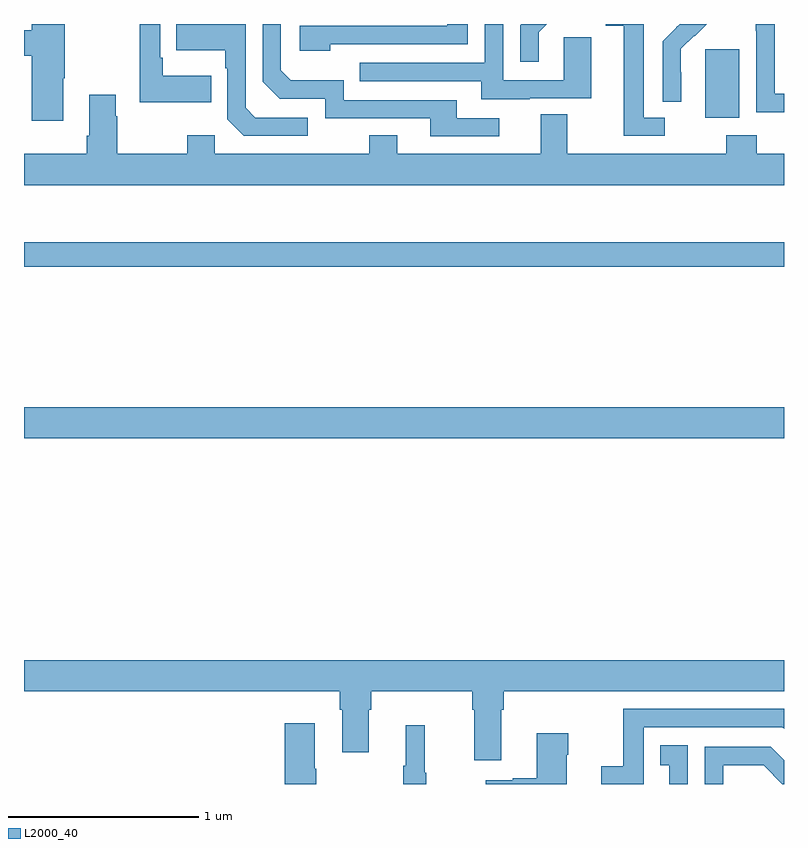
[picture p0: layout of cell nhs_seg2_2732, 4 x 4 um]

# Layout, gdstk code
import gdstk
lib = gdstk.Library(unit=1e-6, precision=1e-09)
def R(c, l, rs):  # rectangles x0, y0, x1, y1
    for r in rs: c.add(gdstk.rectangle(r[:2], r[2:], *l))
def P(c, l, *ps):  # polygons
    for p in ps: c.add(gdstk.Polygon(p, *l))
L2000_40 = (2000, 40)

nhs_seg2_2732 = lib.new_cell('nhs_seg2_2732')
R(nhs_seg2_2732, L2000_40, [(253,663.62,257,663.784), (253,664.522,257,664.651), (256.586,665.306,256.765,665.667)])
P(nhs_seg2_2732, L2000_40, [(255.661,665.409),(255.985,665.409),(255.985,665.729),(255.84,665.729),(255.84,665.505),(255.522,665.505),(255.522,665.8),(255.426,665.8),(255.426,665.595),(254.767,665.595),(254.767,665.499),(255.407,665.499),(255.407,665.405),(255.661,665.405)],
  [(256.372,665.307),(256.261,665.307),(256.261,665.8),(256.061,665.8),(256.061,665.792),(256.157,665.792),(256.157,665.211),(256.372,665.211)],
  [(253.985,665.527),(253.729,665.527),(253.729,665.623),(253.716,665.623),(253.716,665.8),(253.608,665.8),(253.608,665.387),(253.985,665.387)],
  [(257,665.433),(256.95,665.433),(256.95,665.8),(256.852,665.8),(256.852,665.764),(256.854,665.764),(256.854,665.335),(257,665.335)],
  [(256.458,665.546),(256.457,665.546),(256.457,665.669),(256.527,665.739),(256.53,665.736),(256.594,665.8),(256.45,665.8),(256.434,665.784),(256.435,665.783),(256.362,665.71),(256.362,665.392),(256.458,665.392)],
  [(254.612,665.694),(255.336,665.694),(255.336,665.8),(255.227,665.8),(255.227,665.79),(254.451,665.79),(254.451,665.66),(254.612,665.66)],
  [(255.709,665.757),(255.752,665.8),(255.618,665.8),(255.612,665.794),(255.612,665.601),(255.709,665.601)],
  [(255.502,665.304),(255.277,665.304),(255.277,665.4),(254.682,665.4),(254.682,665.503),(254.405,665.503),(254.352,665.556),(254.352,665.8),(254.256,665.8),(254.256,665.496),(254.346,665.406),(254.586,665.406),(254.586,665.304),(255.137,665.304),(255.137,665.208),(255.502,665.208)],
  [(253.207,665.515),(253.215,665.515),(253.215,665.8),(253.04,665.8),(253.04,665.768),(253,665.768),(253,665.632),(253.04,665.632),(253.04,665.292),(253.207,665.292)],
  [(254.494,665.307),(254.217,665.307),(254.166,665.358),(254.166,665.8),(253.801,665.8),(253.801,665.663),(254.058,665.663),(254.058,665.567),(254.07,665.567),(254.07,665.298),(254.157,665.211),(254.494,665.211)],
  [(257,665.116),(256.856,665.116),(256.856,665.215),(256.696,665.215),(256.696,665.116),(255.859,665.116),(255.859,665.324),(255.719,665.324),(255.719,665.116),(254.965,665.116),(254.965,665.215),(254.818,665.215),(254.818,665.116),(254.004,665.116),(254.004,665.215),(253.858,665.215),(253.858,665.116),(253.491,665.116),(253.491,665.315),(253.483,665.315),(253.483,665.428),(253.343,665.428),(253.343,665.212),(253.331,665.212),(253.331,665.116),(253,665.116),(253,664.952),(257,664.952)],
  [(253,662.288),(254.663,662.288),(254.663,662.192),(254.675,662.192),(254.675,661.968),(254.815,661.968),(254.815,662.192),(254.828,662.192),(254.828,662.288),(255.359,662.288),(255.359,662.192),(255.371,662.192),(255.371,661.926),(255.511,661.926),(255.511,662.192),(255.524,662.192),(255.524,662.288),(257,662.288),(257,662.452),(253,662.452)],
  [(256.263,662.1),(256.992,662.1),(257,662.092),(257,662.196),(256.154,662.196),(256.154,661.894),(256.037,661.894),(256.037,661.8),(256.263,661.8)],
  [(254.538,661.88),(254.53,661.88),(254.53,662.119),(254.372,662.119),(254.372,661.8),(254.538,661.8)],
  [(255.118,661.86),(255.11,661.86),(255.11,662.11),(255.008,662.11),(255.008,661.897),(254.997,661.897),(254.997,661.8),(255.118,661.8)],
  [(255.856,661.955),(255.864,661.955),(255.864,662.068),(255.698,662.068),(255.698,661.829),(255.572,661.829),(255.572,661.819),(255.429,661.819),(255.429,661.8),(255.856,661.8)],
  [(256.494,662.005),(256.348,662.005),(256.348,661.899),(256.397,661.899),(256.397,661.8),(256.494,661.8)],
  [(256.68,661.898),(256.894,661.898),(256.992,661.8),(257,661.8),(257,661.925),(256.93,661.995),(256.584,661.995),(256.584,661.8),(256.68,661.8)])

lib.write_gds('nhs_seg2_2732.gds')
